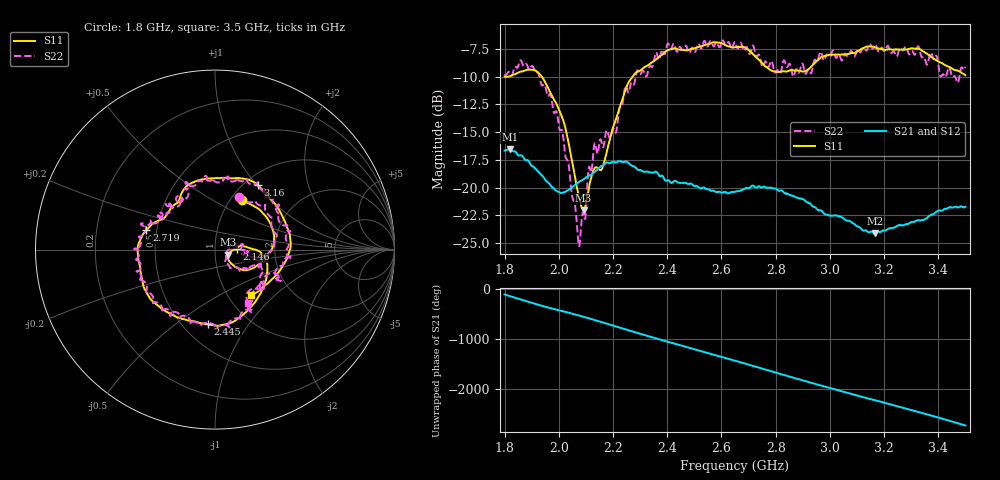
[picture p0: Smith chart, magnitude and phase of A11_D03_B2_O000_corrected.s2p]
! Created with skrf 1.9.0 (http://scikit-rf.org).
# Hz S RI R 50.0
!freq ReS11 ImS11 ReS21 ImS21 ReS12 ImS12 ReS22 ImS22
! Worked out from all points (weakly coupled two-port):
!   1601 points, 1.8 GHz to 3.5 GHz, reference 50 ohm
!   highest |S21| = -16.55 dB at 1.819 GHz (marker M1); lowest = -24.1 dB at 3.165 GHz (marker M2)
!   lowest |S11| = -22.0 dB at 2.091 GHz (marker M3), VSWR 1.17, Z = 57.9 - j3.21 ohm
!   |S11| at or under -10 dB: 1.8 GHz to 1.811 GHz (10.71 MHz wide, 0.593 % of centre); 1.938 GHz to 2.272 GHz (334.4 MHz wide, 15.9 % of centre)
!   |S22| runs from -25.3 to -6.7 dB; largest |S21 - S12| = 0.0026
!   S11 on the Smith chart (normalised r, x): 1.8 GHz: 1.12, +0.70; 2.146 GHz: 1.28, +0.00; 2.445 GHz: 0.66, -0.66; 2.719 GHz: 0.44, +0.11; 3.16 GHz: 1.15, +1.02; 3.5 GHz: 1.27, -0.72
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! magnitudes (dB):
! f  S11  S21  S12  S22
! 1.8 GHz  -10.0  -16.6  -16.6  -9.8
! 1.819 GHz  -10.0  -16.5  -16.6  -9.6
! 1.903 GHz  -9.4  -18.1  -18.1  -9.0
! 1.968 GHz  -11.4  -19.7  -19.8  -11.6
! 2.015 GHz  -13.8  -20.5  -20.5  -15.1
! 2.072 GHz  -20.6  -19.5  -19.6  -24.9
! 2.084 GHz  -21.7  -19.4  -19.3  -23.0
! 2.091 GHz  -22.0  -19.2  -19.3  -22.3
! 2.112 GHz  -19.8  -18.9  -18.9  -18.1
! 2.146 GHz  -18.3  -18.3  -18.3  -16.5
! 2.209 GHz  -13.9  -17.7  -17.7  -15.0
! 2.258 GHz  -10.5  -17.8  -17.8  -11.4
! 2.367 GHz  -8.3  -18.8  -18.8  -8.4
! 2.445 GHz  -7.6  -19.6  -19.6  -7.3
! 2.65 GHz  -7.3  -20.4  -20.3  -6.9
! 2.719 GHz  -8.0  -19.9  -19.8  -7.3
! 2.803 GHz  -9.6  -20.1  -20.1  -9.5
! 2.934 GHz  -9.0  -21.6  -21.6  -9.5
! 3.16 GHz  -7.3  -24.1  -24.0  -7.4
! 3.165 GHz  -7.3  -24.1  -24.1  -7.2
! 3.217 GHz  -7.5  -23.7  -23.7  -7.4
! 3.5 GHz  -9.9  -21.7  -21.7  -9.1
